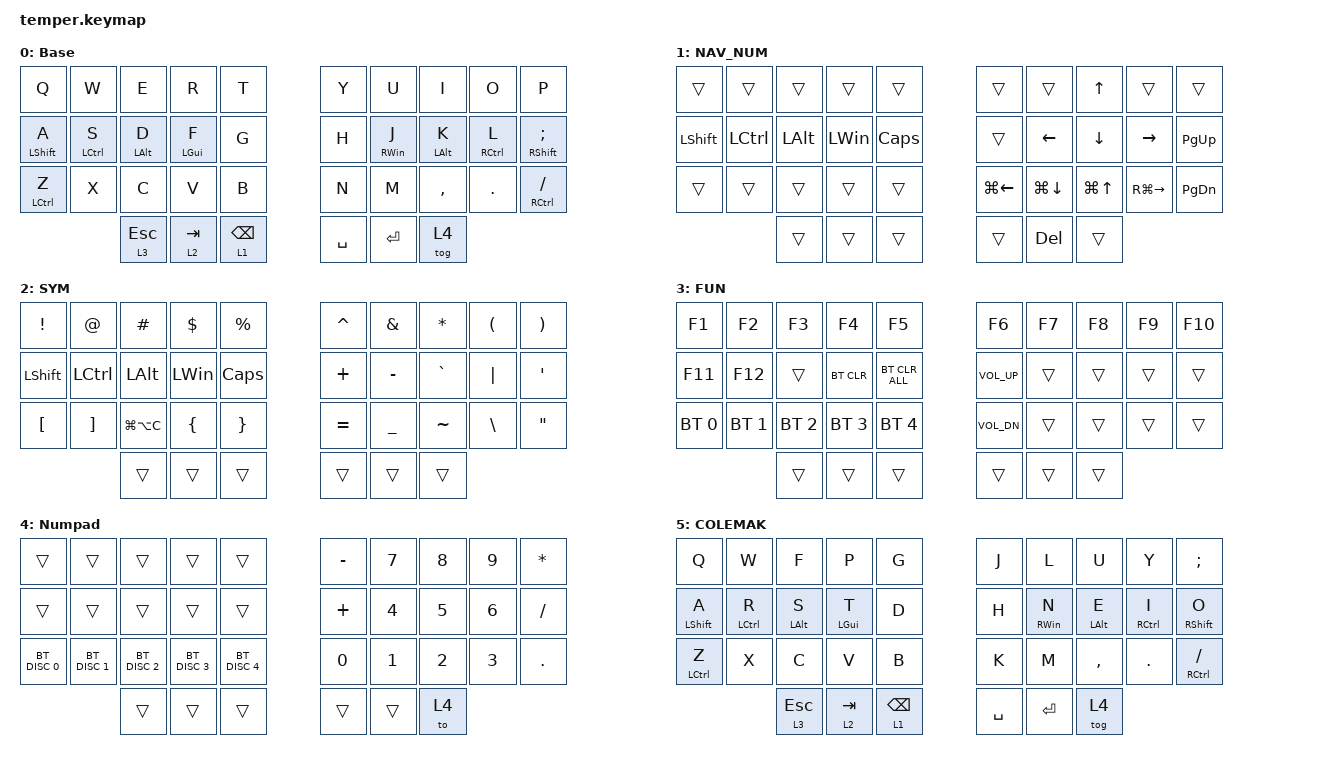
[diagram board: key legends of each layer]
/*
 * Copyright (c) 2020 duckyb
 *
 * SPDX-License-Identifier: MIT
 */

#include <behaviors.dtsi>
#include <dt-bindings/zmk/bt.h>
#include <dt-bindings/zmk/keys.h>

#define Base 0
#define NAV_NUM 1
#define SYM 2
#define FUN 3

&sk { quick-release; };

&lt {
    flavor = "hold-preferred";
    quick-tap-ms = <180>;
};

/ {
    behaviors {
        hm: hm {
            compatible = "zmk,behavior-hold-tap";
            label = "HM";
            bindings = <&kp>, <&kp>;

            #binding-cells = <2>;
            quick-tap-ms = <170>;
            tapping-term-ms = <190>;
            global-quick-tap;
            flavor = "tap-preferred";
        };

        hml: hml {
            compatible = "zmk,behavior-hold-tap";
            label = "HML";
            bindings = <&kp>, <&kp>;

            #binding-cells = <2>;
            tapping-term-ms = <280>;
            quick-tap-ms = <175>;
            require-prior-idle-ms = <150>;
            flavor = "balanced";
            hold-trigger-on-release;
            hold-trigger-key-positions = <0 1 2 3 4 20 21 22 23 24 14 30 31 32 33 34 35 25 15 5 6 16 26 27 17 7 8 18 28 29 19 9>;
        };

        hmr: hmr {
            compatible = "zmk,behavior-hold-tap";
            label = "HMR";
            bindings = <&kp>, <&kp>;

            #binding-cells = <2>;
            tapping-term-ms = <280>;
            quick-tap-ms = <175>;
            require-prior-idle-ms = <150>;
            flavor = "balanced";
            hold-trigger-on-release;
            hold-trigger-key-positions = <0 10 20 21 1 11 12 2 3 4 24 14 13 23 22 30 31 32 33 34 35 25 26 28 27 29 9 8 7 6 5 15>;
        };

        mo_tog: mo_tog {
            compatible = "zmk,behavior-hold-tap";
            label = "MO_TOG";
            bindings = <&mo>, <&tog>;

            #binding-cells = <2>;
            tapping-term-ms = <200>;
            quick-tap-ms = <180>;
        };
    };

    combos {
        compatible = "zmk,combos";

        left_bkt {
            bindings = <&kp LBKT>;
            key-positions = <3 4>;
            timeout-ms = <30>;
        };

        right_bkt {
            bindings = <&kp RBKT>;
            key-positions = <6 5>;
            timeout-ms = <30>;
        };

        left_par {
            bindings = <&kp LEFT_PARENTHESIS>;
            key-positions = <13 14>;
            timeout-ms = <30>;
        };

        right_par {
            bindings = <&kp RIGHT_PARENTHESIS>;
            key-positions = <16 15>;
            timeout-ms = <30>;
        };

        left_brace {
            bindings = <&kp LEFT_BRACE>;
            key-positions = <23 24>;
            timeout-ms = <35>;
        };

        right_brace {
            bindings = <&kp RIGHT_BRACE>;
            key-positions = <26 25>;
            timeout-ms = <35>;
        };

        bac {
            bindings = <&kp BACKSLASH>;
            key-positions = <3 14>;
        };

        pipe {
            bindings = <&kp PIPE>;
            key-positions = <15 5>;
            timeout-ms = <30>;
        };

        esc {
            bindings = <&kp ESC>;
            key-positions = <0 1>;
            timeout-ms = <30>;
        };

        enter {
            bindings = <&kp ENTER>;
            key-positions = <13 12>;
            timeout-ms = <30>;
        };

        tab {
            bindings = <&kp TAB>;
            key-positions = <16 17>;
            timeout-ms = <30>;
        };

        back {
            bindings = <&kp BACKSPACE>;
            key-positions = <11 10>;
            timeout-ms = <30>;
        };

        del {
            bindings = <&kp DELETE>;
            key-positions = <27 28>;
            timeout-ms = <30>;
        };

        copy {
            bindings = <&kp LC(C)>;
            key-positions = <21 22>;
            timeout-ms = <30>;
        };

        paste {
            bindings = <&kp LC(V)>;
            key-positions = <22 23>;
            timeout-ms = <30>;
        };

        slash {
            bindings = <&kp SLASH>;
            key-positions = <15 6>;
        };

        Question_mark {
            bindings = <&kp QUESTION>;
            key-positions = <29 28>;
            layers = <0>;
        };

        to_Base_layer {
            bindings = <&to 0>;
            key-positions = <32 33>;
        };

        undo {
            bindings = <&kp LC(Z)>;
            key-positions = <20 21>;
        };

        screenshot {
            bindings = <&kp LC(LS(S))>;
            key-positions = <10 11 12>;
            layers = <0>;
        };

        to_Colemak {
            bindings = <&to 5>;
            key-positions = <30 35>;
        };
    };

    keymap {
        compatible = "zmk,keymap";

        QWERTY {
            label = "QWERTY";
            display-name = "Base";
            bindings = <
  &kp Q               &kp W                &kp E           &kp R            &kp T              &kp Y      &kp U             &kp I           &kp O                 &kp P
  &hml LEFT_SHIFT A   &hml LEFT_CONTROL S  &hm LEFT_ALT D  &hml LEFT_GUI F  &kp G              &kp H      &hmr RIGHT_WIN J  &hm LEFT_ALT K  &hmr RIGHT_CONTROL L  &hmr RIGHT_SHIFT SEMICOLON
  &hm LEFT_CONTROL Z  &kp X                &kp C           &kp V            &kp B              &kp N      &kp M             &kp COMMA       &kp DOT               &hm RIGHT_CONTROL FSLH
                                           &lt 3 ESCAPE    &lt 2 TAB        &lt 1 BACKSPACE    &kp SPACE  &kp ENTER         &tog 4
            >;
        };

        nav_num {
            display-name = "NAV_NUM";
            label = "NAV_NUM";
            bindings = <
  &trans          &trans            &trans        &trans        &trans          &trans              &trans          &kp UP_ARROW      &trans           &trans
  &kp LEFT_SHIFT  &kp LEFT_CONTROL  &kp LEFT_ALT  &kp LEFT_WIN  &kp CAPSLOCK    &trans              &kp LEFT_ARROW  &kp DOWN_ARROW    &kp RIGHT_ARROW  &kp PAGE_UP
  &trans          &trans            &trans        &trans        &trans          &kp LG(LEFT_ARROW)  &kp LG(DOWN)    &kp LG(UP_ARROW)  &kp RG(RIGHT)    &kp PAGE_DOWN
                                    &trans        &trans        &trans          &trans              &kp DELETE      &trans
            >;
        };

        sym {
            label = "SYM";
            display-name = "SYM";
            bindings = <
  &kp EXCLAMATION   &kp AT             &kp HASH       &kp DOLLAR      &kp PERCENT        &kp CARET  &kp AMPERSAND  &kp ASTERISK  &kp LEFT_PARENTHESIS  &kp RIGHT_PARENTHESIS
  &kp LSHIFT        &kp LEFT_CONTROL   &kp LEFT_ALT   &kp LEFT_WIN    &kp CAPSLOCK       &kp PLUS   &kp MINUS      &kp GRAVE     &kp PIPE              &kp SINGLE_QUOTE
  &kp LEFT_BRACKET  &kp RIGHT_BRACKET  &kp LG(LA(C))  &kp LEFT_BRACE  &kp RIGHT_BRACE    &kp EQUAL  &kp UNDER      &kp TILDE     &kp BACKSLASH         &kp DOUBLE_QUOTES
                                       &trans         &trans          &trans             &trans     &trans         &trans
            >;
        };

        fun {
            bindings = <
  &kp F1        &kp F2        &kp F3        &kp F4        &kp F5            &kp F6           &kp F7  &kp F8  &kp F9  &kp F10
  &kp F11       &kp F12       &trans        &bt BT_CLR    &bt BT_CLR_ALL    &kp C_VOLUME_UP  &trans  &trans  &trans  &trans
  &bt BT_SEL 0  &bt BT_SEL 1  &bt BT_SEL 2  &bt BT_SEL 3  &bt BT_SEL 4      &kp C_VOL_DN     &trans  &trans  &trans  &trans
                              &trans        &trans        &trans            &trans           &trans  &trans
            >;

            display-name = "FUN";
            label = "FUN";
        };

        Numpad {
            bindings = <
  &trans         &trans         &trans         &trans         &trans           &kp MINUS  &kp N7        &kp N8        &kp N9        &kp ASTERISK
  &trans         &trans         &trans         &trans         &trans           &kp PLUS   &kp NUMBER_4  &kp N5        &kp NUMBER_6  &kp SLASH
  &bt BT_DISC 0  &bt BT_DISC 1  &bt BT_DISC 2  &bt BT_DISC 3  &bt BT_DISC 4    &kp N0     &kp NUMBER_1  &kp NUMBER_2  &kp NUMBER_3  &kp PERIOD
                                &trans         &trans         &trans           &trans     &trans        &to 4
            >;

            label = "Numpad";
        };

        Colemak {
            label = "Colemak";
            display-name = "COLEMAK";
            bindings = <
  &kp Q               &kp W                &kp F           &kp P            &kp G              &kp J      &kp L             &kp U           &kp Y                 &kp SEMICOLON
  &hml LEFT_SHIFT A   &hml LEFT_CONTROL R  &hm LEFT_ALT S  &hml LEFT_GUI T  &kp D              &kp H      &hmr RIGHT_WIN N  &hm LEFT_ALT E  &hmr RIGHT_CONTROL I  &hmr RIGHT_SHIFT O
  &hm LEFT_CONTROL Z  &kp X                &kp C           &kp V            &kp B              &kp K      &kp M             &kp COMMA       &kp DOT               &hm RIGHT_CONTROL FSLH
                                           &lt 3 ESCAPE    &lt 2 TAB        &lt 1 BACKSPACE    &kp SPACE  &kp ENTER         &tog 4
            >;
        };
    };
};
